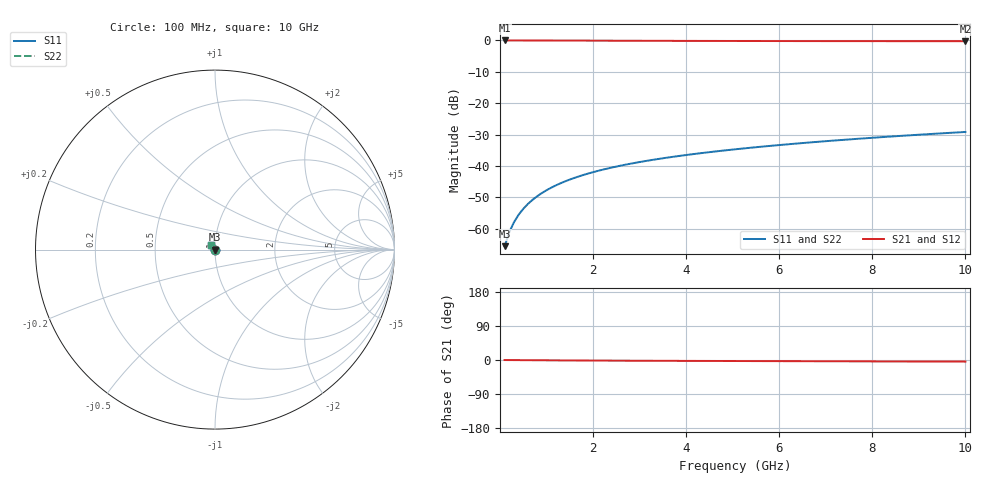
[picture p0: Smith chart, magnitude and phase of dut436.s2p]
! Touchstone file exported from HFSS 2024.1.0
!  File:  C:/UserFiles/LocalFiles/RDL_TSV_Batchsim/temp_TSV1_436_1779694726.aedt
!  Generated:  03:47:07 PM May 25, 2026
!  Design:  TSV1
!  Project:  temp_TSV1_436_1779694726
!  Setup:  Setup1
!  Solution:  Sweep
! Variables:
!  dtsv = 5.82um
!  hbump = 3um
!  htsv = 57um
!  lrdl = 252.1521522um
!  p = 40
!  p1 = 59.17um
!  t = 500um
!  trdl = 3um
!  wrdl = 24.89489489um
# GHz S MA R 50.000000
! Terminal data exported
! Port[1] = TSV22_T1
! Port[2] = TSV22_T2
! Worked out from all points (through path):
!   100 points, 100 MHz to 10 GHz, reference 50 ohm
!   highest |S21| = 0.00 dB at 100 MHz (marker M1); lowest = -0.2 dB at 10 GHz (marker M2)
!   lowest |S11| = -65.6 dB at 100 MHz (marker M3), VSWR 1.00, Z = 50 - j0.0423 ohm
!   |S11| at or under -10 dB: start of sweep to end of sweep
!   |S22| runs from -65.6 to -29.2 dB; largest |S21 - S12| = 1.3e-15
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0.1  0.0005274 -53.2  0.9996 -0.1  0.9996 -0.1  0.0005274 -53.2
! Gamma 0 0 0 0
! Port Impedance 50 0 50 0
0.2  0.0008782 -73.7  0.9996 -0.2  0.9996 -0.2  0.0008782 -73.7
0.3  0.001266 -84.0  0.9994 -0.3  0.9994 -0.3  0.001266 -84.0
0.4  0.001667 -90.8  0.9993 -0.3  0.9993 -0.3  0.001667 -90.8
0.5  0.002073 -96.0  0.9991 -0.4  0.9991 -0.4  0.002073 -96.0
0.6  0.002481 -100.4  0.9988 -0.5  0.9988 -0.5  0.002481 -100.4
0.7  0.002889 -104.3  0.9985 -0.6  0.9985 -0.6  0.002889 -104.3
0.8  0.003295 -108.0  0.9982 -0.7  0.9982 -0.7  0.003295 -108.0
0.9  0.0037 -111.4  0.9979 -0.7  0.9979 -0.7  0.0037 -111.4
1.1  0.004503 -117.7  0.9971 -0.9  0.9971 -0.9  0.004503 -117.7
1.4  0.005685 -126.5  0.9958 -1.1  0.9958 -1.1  0.005685 -126.5
1.6  0.006458 -132.0  0.9949 -1.2  0.9949 -1.2  0.006458 -132.0
1.8  0.007218 -137.2  0.9939 -1.3  0.9939 -1.3  0.007218 -137.2
2.1  0.008336 -144.6  0.9923 -1.5  0.9923 -1.5  0.008336 -144.6
2.5  0.009786 -153.6  0.9903 -1.7  0.9903 -1.7  0.009786 -153.6
2.9  0.0112 -161.9  0.9883 -1.9  0.9883 -1.9  0.0112 -161.9
3.4  0.01292 -171.0  0.9861 -2.1  0.9861 -2.1  0.01292 -171.0
4.2  0.01561 176.5  0.983 -2.4  0.983 -2.4  0.01561 176.5
5.1  0.01858 165.1  0.9802 -2.7  0.9802 -2.7  0.01858 165.1
6.7  0.02383 150.0  0.9768 -3.2  0.9768 -3.2  0.02383 150.0
8.4  0.02946 138.7  0.9744 -3.8  0.9744 -3.8  0.02946 138.7
10  0.03481 130.8  0.9727 -4.3  0.9727 -4.3  0.03481 130.8
